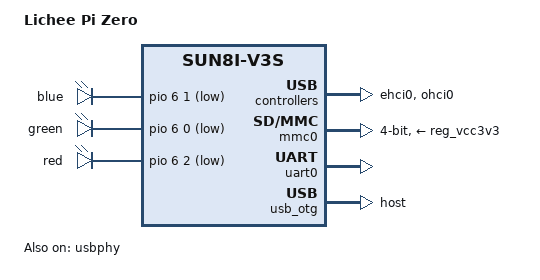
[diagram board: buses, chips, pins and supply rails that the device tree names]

/dts-v1/;
#include "sun8i-v3s.dtsi"
#include "sunxi-common-regulators.dtsi"

/ {
	model = "Lichee Pi Zero";
	compatible = "licheepi,licheepi-zero", "allwinner,sun8i-v3s";

	aliases {
		serial0 = &uart0;
	};

	chosen {
		stdout-path = "serial0:115200n8";
	};

	leds {
		compatible = "gpio-leds";

		blue_led {
			label = "blue";
			gpios = <&pio 6 1 GPIO_ACTIVE_LOW>; /* PG1 */
		};

		green_led {
			label = "green";
			gpios = <&pio 6 0 GPIO_ACTIVE_LOW>; /* PG0 */
			default-state = "on";
		};

		red_led {
			label = "red";
			gpios = <&pio 6 2 GPIO_ACTIVE_LOW>; /* PG2 */
		};
	};
};

&ehci0 {
	status = "okay";
};

&ohci0 {
	status = "okay";
};

&mmc0 {
	broken-cd;
	bus-width = <4>;
	vmmc-supply = <&reg_vcc3v3>;
	status = "okay";
};

&uart0 {
	pinctrl-0 = <&uart0_pb_pins>;
	pinctrl-names = "default";
	status = "okay";
};

&usb_otg {
	dr_mode = "host";
	status = "okay";
};

&usbphy {
	usb0_id_det-gpios = <&pio 5 6 GPIO_ACTIVE_HIGH>;
	status = "okay";
};
